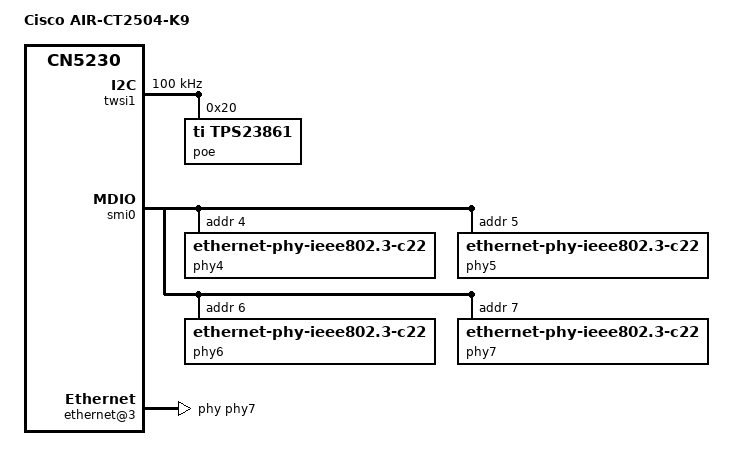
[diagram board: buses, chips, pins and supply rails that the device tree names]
// SPDX-License-Identifier: GPL-2.0-only
/*
 * Device tree source for Cisco AIR-CT2504-K9 wireless LAN controller
 * (Cavium OCTEON CN5230C, 4 cores, 1 GiB DDR2, 32 MiB NOR, CompactFlash).
 *
 * Four front-panel GbE ports: SGMII interface 0, Marvell quad PHY on MDIO
 * addresses 4-7.
 */

/include/ "octeon_3xxx.dtsi"

/ {
	compatible = "cisco,ct2504", "cavium,cn5230";
	model = "Cisco AIR-CT2504-K9";

	soc@0 {
		uart0: serial@1180000000800 {
			clock-frequency = <750000000>;
		};

		bootbus: bootbus@1180000000000 {
			ranges = <0 0  0x0 0x1f400000  0xc00000>,
				 <1 0  0x10000 0x30000000  0>,
				 <2 0  0x0 0x12000000  0x10000>,
				 <3 0  0x0 0x13000000  0x10000>,
				 <4 0  0x0 0x1d020000  0x10000>,
				 <5 0  0x0 0x1d040000  0x10000>,
				 <6 0  0x0 0x1d050000  0x10000>,
				 <7 0  0x10000 0x90000000  0>;

			/* CompactFlash in true-IDE mode on CS2 (command) / CS3 (control) */
			cf0: compact-flash@2,0 {
				compatible = "cavium,ebt3000-compact-flash";
				reg = <2 0 0x10000>, <3 0 0x10000>;
				cavium,bus-width = <16>;
				cavium,true-ide;
				cavium,dma-engine-handle = <&dma0>;
			};
		};

		twsi1: i2c@1180000001200 {
			#address-cells = <1>;
			#size-cells = <0>;
			compatible = "cavium,octeon-3860-twsi";
			reg = <0x11800 0x00001200 0x0 0x200>;
			interrupts = <0 59>;
			clock-frequency = <100000>;

			/* PoE for two ports: channels 1 and 2 are wired up */
			poe@20 {
				compatible = "ti,tps23861";
				reg = <0x20>;
				/* the vendor firmware also runs it in auto mode */
				ti,operating-mode = "auto";
			};
		};

		smi0: mdio@1180000001800 {
			phy4: ethernet-phy@4 {
				reg = <4>;
				compatible = "ethernet-phy-ieee802.3-c22";
			};
			phy5: ethernet-phy@5 {
				reg = <5>;
				compatible = "ethernet-phy-ieee802.3-c22";
			};
			phy6: ethernet-phy@6 {
				reg = <6>;
				compatible = "ethernet-phy-ieee802.3-c22";
			};
			phy7: ethernet-phy@7 {
				reg = <7>;
				compatible = "ethernet-phy-ieee802.3-c22";
			};
		};

		pip: pip@11800a0000000 {
			interface@0 {
				ethernet@0 {
					phy-handle = <&phy4>;
				};
				ethernet@1 {
					phy-handle = <&phy5>;
				};
				ethernet@2 {
					phy-handle = <&phy6>;
				};
				ethernet@3 {
					compatible = "cavium,octeon-3860-pip-port";
					reg = <0x3>; /* Port */
					local-mac-address = [ 00 00 00 00 00 00 ];
					phy-handle = <&phy7>;
				};
			};
		};
	};

	aliases {
		pip = &pip;
	};
};

/* Boot loader and its environment, needs the Intel CFI driver */
&flash0 {
	status = "disabled";
};
